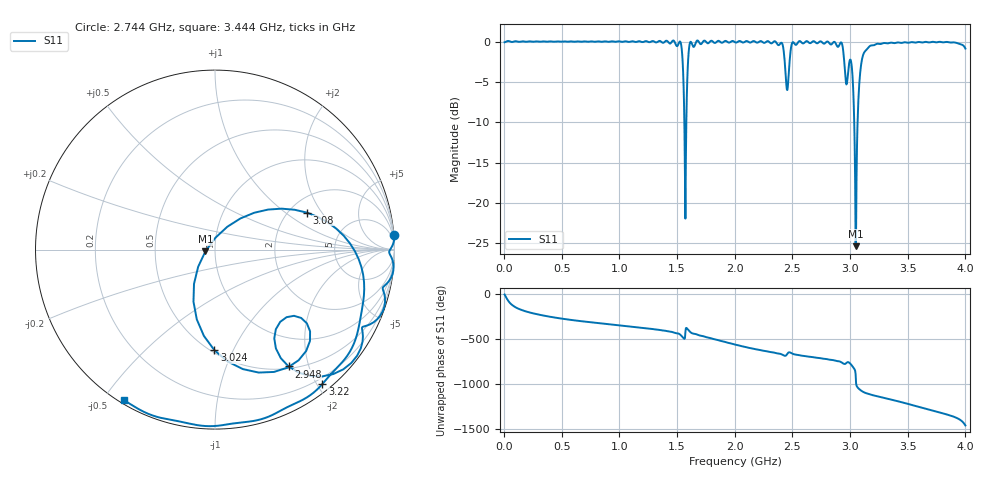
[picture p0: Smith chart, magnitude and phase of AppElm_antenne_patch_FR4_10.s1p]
! TOUCHSTONE file generated by CST MICROWAVE STUDIO
! Date and time: Tue Jun  7 21:57:07 2022
! Project name: AppElm_antenne_patch_FR4.cst
! Parameters = {L=45; W=58.5; e=0.035; h=1.6; lambda=0.190476; ls=144; w0=1.6; w1=0.533; ws=120; y0=20; y1=23.81}
! Header version: 2018
! Port assignment regex: !\s*Touchstone port\s*([0-9]+)\s*=\s*(CST MWS port|CST DS port)\s*([0-9]+|Zmin|Zmax)\s*\(\"(.*)\"\)(\s*mode\s*([0-9]+))?.*
! Touchstone port assignment:
! Touchstone port 1 = CST MWS port 1 ("")
# GHz S MA R 50
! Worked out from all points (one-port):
!   1000 points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, 4 MHz to 4 GHz, reference 50 ohm
!   lowest |S11| = -25.4 dB at 3.048 GHz (marker M1), VSWR 1.11, Z = 44.9 - j0.825 ohm
!   |S11| at or under -10 dB: 1.563 GHz to 1.58 GHz (17.26 MHz wide, 1.1 % of centre); 3.036 GHz to 3.065 GHz (29.12 MHz wide, 0.954 % of centre)
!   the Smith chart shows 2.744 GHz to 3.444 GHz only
!   S11 on the Smith chart (normalised r, x): 2.744 GHz: -1, +25; 2.948 GHz: 0.53, -1.69; 3.024 GHz: 0.52, -0.85; 3.08 GHz: 2.47, +1.46; 3.22 GHz: 0.11, -2.07; 3.444 GHz: 0.01, -0.56
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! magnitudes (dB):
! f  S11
! 4 MHz  -0.1
! 504 MHz  0.0
! 1.004 GHz  0.0
! 1.504 GHz  -0.5
! 1.536 GHz  -0.5
! 1.556 GHz  -5.4
! 1.572 GHz  -21.9
! 1.584 GHz  -6.9
! 1.604 GHz  -0.8
! 1.62 GHz  0.0
! 2.004 GHz  -0.1
! 2.4 GHz  -0.2
! 2.456 GHz  -6.0
! 2.504 GHz  -0.1
! 2.744 GHz  0.0
! 2.92 GHz  -0.1
! 2.948 GHz  -2.3
! 3.004 GHz  -2.2
! 3.024 GHz  -5.0
! 3.036 GHz  -10.1
! 3.048 GHz  -25.4
! 3.064 GHz  -10.5
! 3.08 GHz  -5.2
! 3.116 GHz  -1.5
! 3.22 GHz  -0.4
! 3.444 GHz  -0.2
! 3.504 GHz  -0.2
! 4 GHz  -0.9
